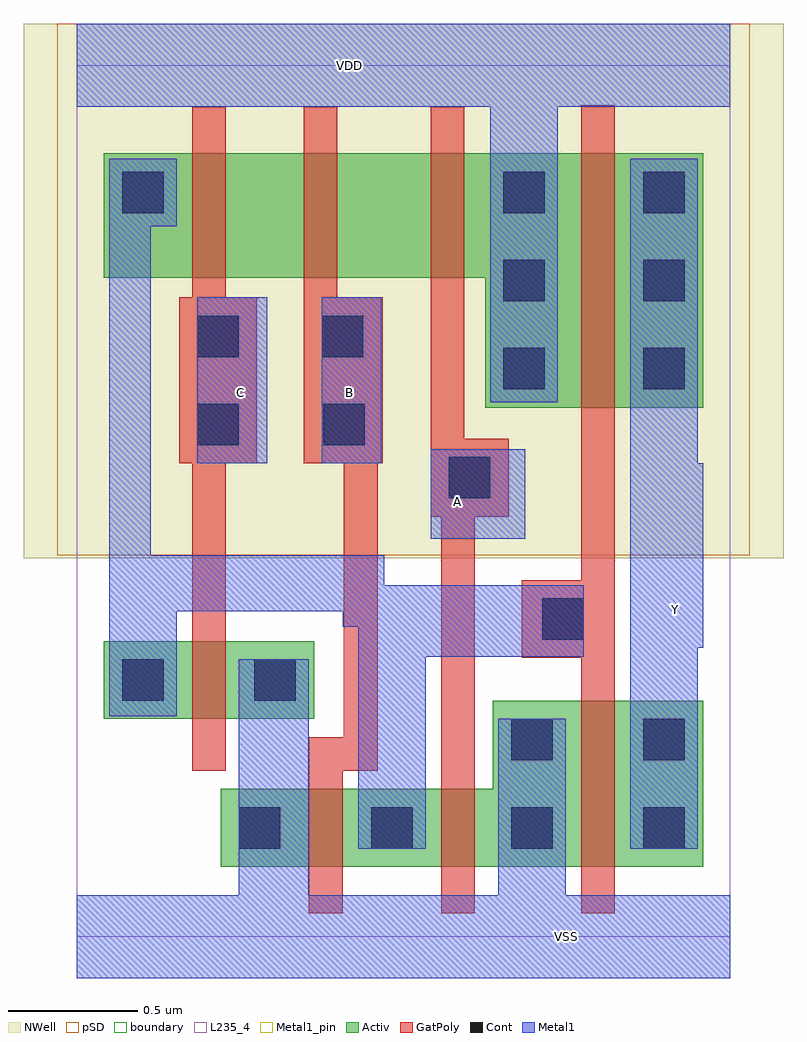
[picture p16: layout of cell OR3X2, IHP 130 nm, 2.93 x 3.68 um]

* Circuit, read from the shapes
.subckt OR3X2 A B C VDD VSS Y
XM1 VSS C n1 VSUBS sg13_lv_nmos w=0.3u l=0.13u
XM2 n1 B VSS VSUBS sg13_lv_nmos w=0.3u l=0.13u
XM3 VSS A n1 VSUBS sg13_lv_nmos w=0.3u l=0.13u
XM4 Y n1 VSS VSUBS sg13_lv_nmos w=0.64u l=0.13u
XM5 n2 C n1 n3 sg13_lv_pmos w=0.48u l=0.13u
XM6 n4 B n2 n3 sg13_lv_pmos w=0.48u l=0.13u
XM7 VDD A n4 n3 sg13_lv_pmos w=0.48u l=0.13u
XM8 Y n1 VDD n3 sg13_lv_pmos w=0.98u l=0.13u
.ends

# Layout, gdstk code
import gdstk
lib = gdstk.Library(unit=1e-6, precision=1e-09)
def R(c, l, rs):  # rectangles x0, y0, x1, y1
    for r in rs: c.add(gdstk.rectangle(r[:2], r[2:], *l))
def A(c, l, x, y, w, h, nx, ny, dx, dy):  # array of equal rectangles
    R(c, l, [(x+i*dx, y+j*dy, x+i*dx+w, y+j*dy+h) for i in range(nx) for j in range(ny)])
def P(c, l, *ps):  # polygons
    for p in ps: c.add(gdstk.Polygon(p, *l))
Activ = (1, 0)
GatPoly = (5, 0)
Cont = (6, 0)
Metal1 = (8, 0)
Metal1_pin = (8, 2)
pSD = (14, 0)
NWell = (31, 0)
boundary = (189, 4)
L235_4 = (235, 4)

or3x2 = lib.new_cell('OR3X2')
R(or3x2, Activ, [(0.105,0.84,0.915,1.14)])
P(or3x2, Activ, [(1.575,2.04),(1.575,2.54),(0.105,2.54),(0.105,3.02),(2.415,3.02),(2.415,2.04)],
  [(0.555,0.27),(0.555,0.57),(1.605,0.57),(1.605,0.91),(2.415,0.91),(2.415,0.27)])
P(or3x2, GatPoly, [(1.405,0.09),(1.405,1.62),(1.365,1.62),(1.365,3.2),(1.495,3.2),(1.495,1.92),(1.665,1.92),(1.665,1.62),(1.535,1.62),(1.535,0.09)],
  [(0.895,0.09),(0.895,0.77),(1.03,0.77),(1.03,1.825),(0.875,1.825),(0.875,3.2),(1.005,3.2),(1.005,2.465),(1.18,2.465),(1.18,1.825),(1.16,1.825),(1.16,0.64),(1.025,0.64),(1.025,0.09)],
  [(0.445,0.64),(0.445,1.825),(0.395,1.825),(0.395,2.465),(0.445,2.465),(0.445,3.2),(0.575,3.2),(0.575,2.465),(0.695,2.465),(0.695,1.825),(0.575,1.825),(0.575,0.64)],
  [(1.945,0.09),(1.945,1.075),(1.715,1.075),(1.715,1.375),(1.945,1.375),(1.945,3.205),(2.075,3.205),(2.075,0.09)])
A(or3x2, Cont, 1.645, 2.11, 0.16, 0.16, 1, 3, 0, 0.34)
A(or3x2, Cont, 2.185, 2.11, 0.16, 0.16, 1, 3, 0, 0.34)
R(or3x2, Cont, [(0.625,0.34,0.785,0.5), (1.135,0.34,1.295,0.5), (1.675,0.34,1.835,0.5), (2.185,0.34,2.345,0.5), (1.675,0.68,1.835,0.84), (2.185,0.68,2.345,0.84), (0.175,0.91,0.335,1.07), (0.685,0.91,0.845,1.07), (1.795,1.145,1.955,1.305), (1.435,1.69,1.595,1.85), (0.465,1.895,0.625,2.055), (0.95,1.895,1.11,2.055), (0.465,2.235,0.625,2.395), (0.945,2.235,1.105,2.395), (0.175,2.79,0.335,2.95)])
R(or3x2, Metal1, [(1.365,1.535,1.73,1.88), (0.465,1.825,0.735,2.465), (0.945,1.825,1.175,2.465)])
P(or3x2, Metal1, [(2.135,0.34),(2.135,3),(2.395,3),(2.395,1.825),(2.415,1.825),(2.415,1.115),(2.395,1.115),(2.395,0.34)],
  [(0,-0.16),(0,0.16),(0.625,0.16),(0.625,1.07),(0.895,1.07),(0.895,0.16),(1.625,0.16),(1.625,0.84),(1.885,0.84),(1.885,0.16),(2.52,0.16),(2.52,-0.16)],
  [(1.595,2.06),(1.595,3.2),(0,3.2),(0,3.52),(2.52,3.52),(2.52,3.2),(1.855,3.2),(1.855,2.06)],
  [(1.085,0.34),(1.085,1.195),(1.025,1.195),(1.025,1.255),(0.385,1.255),(0.385,0.85),(0.125,0.85),(0.125,3),(0.385,3),(0.385,2.74),(0.285,2.74),(0.285,1.47),(1.185,1.47),(1.185,1.355),(1.955,1.355),(1.955,1.08),(1.345,1.08),(1.345,0.34)])
R(or3x2, Metal1_pin, [(0,-0.16,2.52,0.16), (2.135,1.115,2.415,1.825), (1.365,1.535,1.73,1.88), (0.465,1.825,0.735,2.465), (0.945,1.825,1.175,2.465), (0,3.2,2.52,3.52)])
P(or3x2, Metal1_pin, [(2.135,0.34),(2.135,3),(2.395,3),(2.395,1.825),(2.415,1.825),(2.415,1.115),(2.395,1.115),(2.395,0.34)],
  [(1.595,2.06),(1.595,3.2),(0,3.2),(0,3.52),(2.52,3.52),(2.52,3.2),(1.855,3.2),(1.855,2.06)],
  [(0,-0.16),(0,0.16),(0.625,0.16),(0.625,1.07),(0.895,1.07),(0.895,0.16),(1.625,0.16),(1.625,0.84),(1.885,0.84),(1.885,0.16),(2.52,0.16),(2.52,-0.16)])
R(or3x2, pSD, [(-0.075,1.47,2.595,3.52)])
R(or3x2, NWell, [(-0.205,1.46,2.725,3.52)])
R(or3x2, boundary, [(0,0,2.52,3.36)])
R(or3x2, L235_4, [(0,0,2.52,3.36)])
or3x2.add(gdstk.Label('VSS', (1.89,0), layer=8, texttype=25))
or3x2.add(gdstk.Label('B', (1.05,2.1), layer=8, texttype=25))
or3x2.add(gdstk.Label('A', (1.47,1.68), layer=8, texttype=25))
or3x2.add(gdstk.Label('Y', (2.31,1.26), layer=8, texttype=25))
or3x2.add(gdstk.Label('VDD', (1.05,3.36), layer=8, texttype=25))
or3x2.add(gdstk.Label('C', (0.63,2.1), layer=8, texttype=25))

lib.write_gds('OR3X2.gds')
